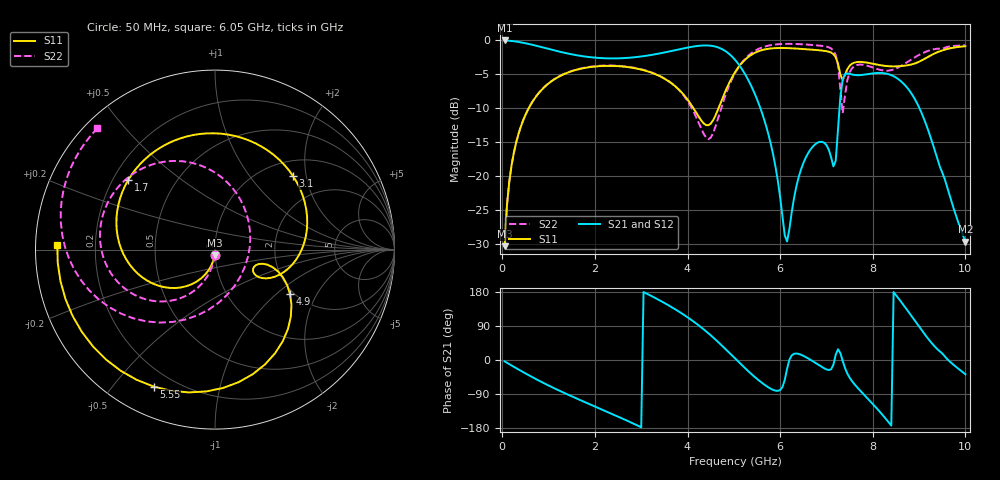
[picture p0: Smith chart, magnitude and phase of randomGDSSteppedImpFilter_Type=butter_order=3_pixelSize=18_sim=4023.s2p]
! freq	dB(S11)	phase(S11)	dB(S12)	phase(S12)
!  dB(S21)	phase(S21)	dB(S22)	phase(S22)
!S-par simulation data
#  GHz  S  DB  R 50
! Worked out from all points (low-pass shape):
!   200 points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, 50 MHz to 10 GHz, reference 50 ohm
!   highest |S21| = -0.01 dB at 50 MHz (marker M1); lowest = -29.6 dB at 10 GHz (marker M2)
!   |S21| within 3 dB of the highest: start of sweep to 5.045 GHz
!   lowest |S11| = -30.3 dB at 50 MHz (marker M3), VSWR 1.06, Z = 49.7 - j3.04 ohm
!   |S11| at or under -10 dB: start of sweep to 569.3 MHz; 4.13 GHz to 4.668 GHz (537.6 MHz wide, 12.2 % of centre)
!   |S22| runs from -30.3 to -0.5 dB; largest |S21 - S12| = 0
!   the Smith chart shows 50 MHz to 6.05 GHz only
!   S11 on the Smith chart (normalised r, x): 50 MHz: 0.99, -0.06; 1.7 GHz: 0.26, +0.33; 3.1 GHz: 1.33, +1.68; 4.9 GHz: 1.91, -1.24; 5.55 GHz: 0.13, -0.64; 6.05 GHz: 0.06, +0.01
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0.05  -30.26 -94.2  -0.01 -3.7  -0.01 -3.7  -30.25 -93.0
0.2  -18.39 -107.3  -0.09 -14.5  -0.09 -14.5  -18.37 -102.5
0.5  -10.96 -131.9  -0.42 -35.4  -0.42 -35.4  -10.94 -119.9
1.7  -4.16 141.4  -2.29 -106.7  -2.29 -106.7  -4.12 -175.6
1.75  -4.09 138.0  -2.34 -109.3  -2.34 -109.3  -4.05 -177.6
3.1  -4.48 43.1  -2.27 176.3  -2.27 176.3  -4.42 130.0
3.4  -5.26 20.0  -1.92 157.3  -1.92 157.3  -5.22 115.8
4.3  -11.81 -31.6  -0.76 85.7  -0.76 85.7  -13.03 29.4
4.9  -6.25 -30.7  -2.00 19.2  -2.00 19.2  -6.63 -120.2
5.05  -4.43 -47.4  -3.05 1.0  -3.05 1.0  -4.53 -139.8
5.55  -1.56 -114.1  -9.54 -54.8  -9.54 -54.8  -1.20 170.3
6.05  -1.12 178.3  -25.92 -71.2  -25.92 -71.2  -0.52 134.1
6.7  -1.37 94.7  -15.66 -2.8  -15.66 -2.8  -0.67 92.7
7.2  -2.48 26.9  -17.69 14.3  -17.69 14.3  -2.14 38.4
7.3  -5.02 16.2  -8.31 18.2  -8.31 18.2  -7.20 20.6
7.4  -5.08 26.6  -4.95 -21.1  -4.95 -21.1  -8.11 67.4
7.9  -3.30 -24.7  -4.95 -102.8  -4.95 -102.8  -3.76 3.4
8.35  -3.80 -73.5  -4.99 -165.4  -4.99 -165.4  -4.44 -79.1
8.7  -3.72 -129.3  -6.62 139.0  -6.62 139.0  -3.38 -143.9
9  -3.14 161.4  -9.85 88.1  -9.85 88.1  -2.13 174.5
9.35  -1.87 82.9  -16.42 34.0  -16.42 34.0  -1.26 138.1
10  -0.86 1.6  -29.59 -37.5  -29.59 -37.5  -0.71 92.7
